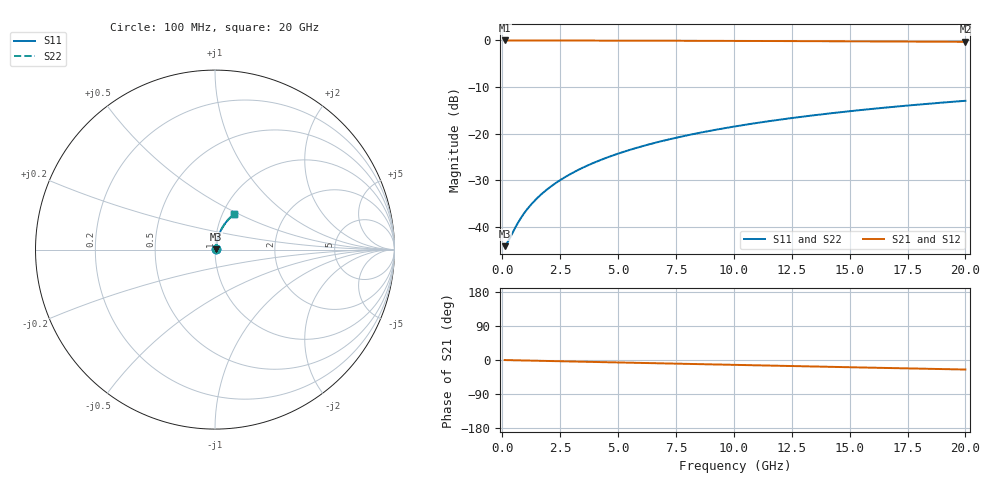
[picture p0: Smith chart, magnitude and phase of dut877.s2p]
! Touchstone file exported from HFSS 2026.1.0
!  File:  C:/ffzhzh/LocalFiles/Ansys_Project_Files/temp_train_TMRDL_877_1783157418_18472.aedt
!  Generated:  05:31:29 PM Jul  4, 2026
!  Design:  TMRDL
!  Project:  temp_train_TMRDL_877_1783157418_18472
! Variables:
!  h_bsmrdl = 2um
!  h_ox = 20um
!  h_rdl = 5um
!  h_sub = 80um
!  h_tmrdl = 2.18um
!  h_tsv = 80um
!  h_via = 3um
!  l_bsmrdl = 300um
!  l_sub = 781.17um
!  l_tmrdl = 381.17um
!  m_sub = 200um
!  pitch = 20.7um
!  r_tsv = 6um
!  s_tmrdl = 10um
!  w_bsmrdl = 18um
!  w_sub = 500um
!  w_tmrdl = 10.4um
!  x_tsv_center1 = 386.37um
!  x_tsv_center2 = 704.37um
!  x_tsv_center3 = 1095.94um
!  x_tsv_center4 = 1413.94um
!  x_tsv_center5 = 1805.51um
!  x_tsv_center6 = 2123.51um
# GHz S MA R 50.000000
! Terminal data exported
! Port[1] = TM_RDL1_1_T1
! Port[2] = TM_RDL1_1_T2
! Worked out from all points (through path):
!   200 points, 100 MHz to 20 GHz, reference 50 ohm
!   highest |S21| = -0.05 dB at 100 MHz (marker M1); lowest = -0.3 dB at 20 GHz (marker M2)
!   group delay of S21, straight-line fit = 3.49 ps
!   lowest |S11| = -44.1 dB at 100 MHz (marker M3), VSWR 1.01, Z = 50.6 + j0.137 ohm
!   |S11| at or under -10 dB: start of sweep to end of sweep
!   |S22| runs from -44.1 to -13.0 dB; largest |S21 - S12| = 1.7e-15
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0.1  0.006238 12.5  0.9939 -0.1  0.9939 -0.1  0.006238 12.5
! Gamma 0 0 0 0
! Port Impedance 50 0 50 0
0.2  0.006705 23.7  0.9939 -0.3  0.9939 -0.3  0.006705 23.7
0.3  0.007408 32.9  0.9938 -0.4  0.9938 -0.4  0.007408 32.9
0.6  0.01028 50.2  0.9935 -0.8  0.9935 -0.8  0.01028 50.2
0.7  0.01135 53.7  0.9934 -1.0  0.9934 -1.0  0.01135 53.7
0.9  0.01356 58.9  0.9932 -1.2  0.9932 -1.2  0.01356 58.9
1.2  0.01692 63.9  0.9929 -1.6  0.9929 -1.6  0.01692 63.9
1.5  0.02031 67.2  0.9926 -2.0  0.9926 -2.0  0.02031 67.2
1.9  0.02487 70.2  0.9923 -2.5  0.9923 -2.5  0.02487 70.2
2.4  0.03063 72.5  0.992 -3.1  0.992 -3.1  0.03063 72.5
2.9  0.03643 74.0  0.9916 -3.8  0.9916 -3.8  0.03644 73.9
3.5  0.04344 75.0  0.9912 -4.6  0.9912 -4.6  0.04345 75.0
4.2  0.05165 75.6  0.9907 -5.5  0.9907 -5.5  0.05166 75.6
5  0.06105 75.8  0.9899 -6.5  0.9899 -6.5  0.06105 75.7
5.9  0.0716 75.6  0.989 -7.6  0.989 -7.6  0.0716 75.5
6.8  0.08211 75.1  0.9879 -8.8  0.9879 -8.8  0.08211 75.1
8.3  0.09947 74.0  0.9859 -10.7  0.9859 -10.7  0.09948 74.0
10.1  0.12 72.4  0.983 -13.0  0.983 -13.0  0.12 72.3
11.7  0.1379 70.7  0.9801 -15.0  0.9801 -15.0  0.1379 70.7
13.4  0.1566 68.9  0.9767 -17.1  0.9767 -17.1  0.1566 68.8
16.7  0.1915 65.2  0.9693 -21.2  0.9693 -21.2  0.1915 65.1
20  0.2247 61.5  0.961 -25.2  0.961 -25.2  0.2247 61.4
